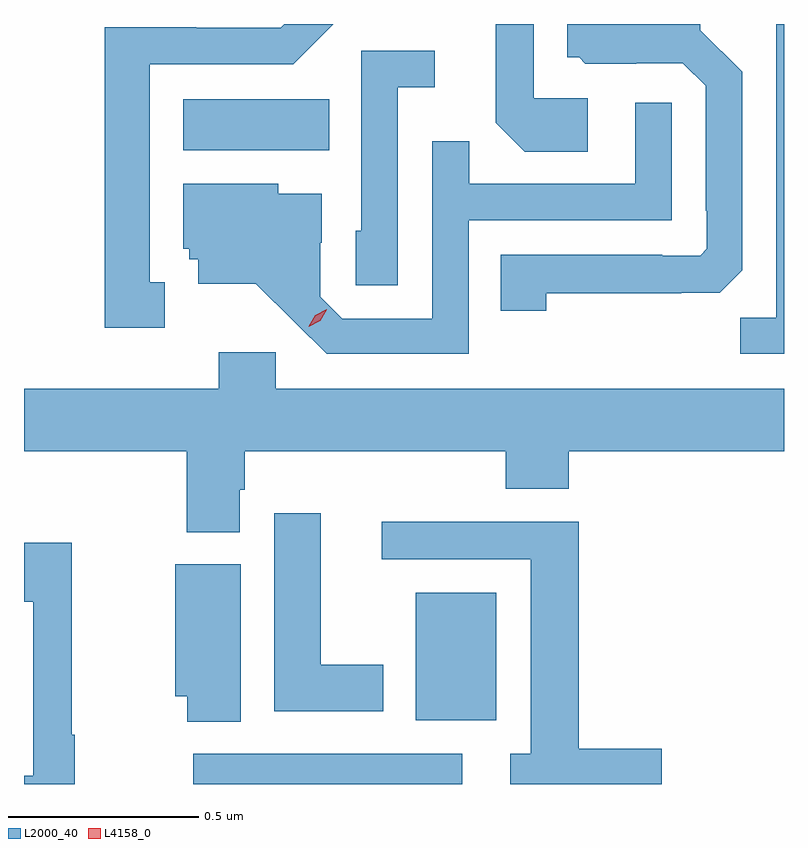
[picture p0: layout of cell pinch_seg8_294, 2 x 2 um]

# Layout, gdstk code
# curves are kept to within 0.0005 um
import gdstk
lib = gdstk.Library(unit=1e-6, precision=1e-09)
def R(c, l, rs):  # rectangles x0, y0, x1, y1
    for r in rs: c.add(gdstk.rectangle(r[:2], r[2:], *l))
def P(c, l, *ps):  # polygons
    for p in ps: c.add(gdstk.Polygon(p, *l))
L2000_40 = (2000, 40)
L4158_0 = (4158, 0)

pinch_seg8_294 = lib.new_cell('pinch_seg8_294')
R(pinch_seg8_294, L2000_40, [(525.676,1152.92,526.384,1152.999), (526.262,1153.088,526.474,1153.423), (525.65,1154.588,526.034,1154.722)])
P(pinch_seg8_294, L2000_40, [(526.605,1154.212),(526.961,1154.212),(526.961,1154.213),(527.062,1154.213),(527.121,1154.272),(527.121,1154.794),(527.011,1154.904),(527.011,1154.92),(526.661,1154.92),(526.661,1154.832),(526.692,1154.832),(526.708,1154.816),(526.842,1154.816),(526.842,1154.817),(526.965,1154.817),(527.025,1154.757),(527.025,1154.428),(527.028,1154.428),(527.028,1154.328),(527.01,1154.31),(526.91,1154.31),(526.91,1154.313),(526.486,1154.313),(526.486,1154.166),(526.605,1154.166)],
  [(527.231,1154.92),(527.211,1154.92),(527.211,1154.147),(527.116,1154.147),(527.116,1154.052),(527.231,1154.052)],
  [(526.714,1154.724),(526.572,1154.724),(526.572,1154.92),(526.473,1154.92),(526.473,1154.66),(526.549,1154.584),(526.714,1154.584)],
  [(525.601,1154.241),(525.562,1154.241),(525.562,1154.814),(525.939,1154.814),(526.045,1154.92),(525.916,1154.92),(525.906,1154.91),(525.684,1154.91),(525.684,1154.912),(525.444,1154.912),(525.444,1154.121),(525.601,1154.121)],
  [(526.215,1154.753),(526.312,1154.753),(526.312,1154.85),(526.119,1154.85),(526.119,1154.376),(526.104,1154.376),(526.104,1154.233),(526.215,1154.233)],
  [(526.401,1154.403),(526.935,1154.403),(526.935,1154.713),(526.839,1154.713),(526.839,1154.499),(526.403,1154.499),(526.403,1154.612),(526.305,1154.612),(526.305,1154.145),(526.068,1154.145),(526.011,1154.202),(526.011,1154.344),(526.015,1154.344),(526.015,1154.473),(525.9,1154.473),(525.9,1154.5),(525.65,1154.5),(525.65,1154.328),(525.666,1154.328),(525.666,1154.301),(525.689,1154.301),(525.689,1154.237),(525.841,1154.237),(526.028,1154.052),(526.401,1154.052)],
  [(525.799,1153.695),(525.812,1153.695),(525.812,1153.796),(526.499,1153.796),(526.499,1153.697),(526.664,1153.697),(526.664,1153.796),(527.231,1153.796),(527.231,1153.96),(525.894,1153.96),(525.894,1154.056),(525.743,1154.056),(525.743,1153.96),(525.231,1153.96),(525.231,1153.796),(525.659,1153.796),(525.659,1153.583),(525.799,1153.583)],
  [(526.177,1153.234),(526.012,1153.234),(526.012,1153.633),(525.89,1153.633),(525.89,1153.112),(526.177,1153.112)],
  [(526.909,1153.013),(526.691,1153.013),(526.691,1153.61),(526.173,1153.61),(526.173,1153.512),(526.565,1153.512),(526.565,1153),(526.511,1153),(526.511,1152.92),(526.909,1152.92)],
  [(525.364,1153.049),(525.356,1153.049),(525.356,1153.555),(525.231,1153.555),(525.231,1153.399),(525.255,1153.399),(525.255,1152.942),(525.231,1152.942),(525.231,1152.92),(525.364,1152.92)],
  [(525.802,1153.498),(525.629,1153.498),(525.629,1153.151),(525.661,1153.151),(525.661,1153.084),(525.802,1153.084)])
P(pinch_seg8_294, L4158_0, [(525.98,1154.123),(525.98,1154.124),(525.997,1154.153),(526.028,1154.169),(526.028,1154.169),(526.028,1154.168),(526.011,1154.139),(525.98,1154.123)])

lib.write_gds('pinch_seg8_294.gds')
